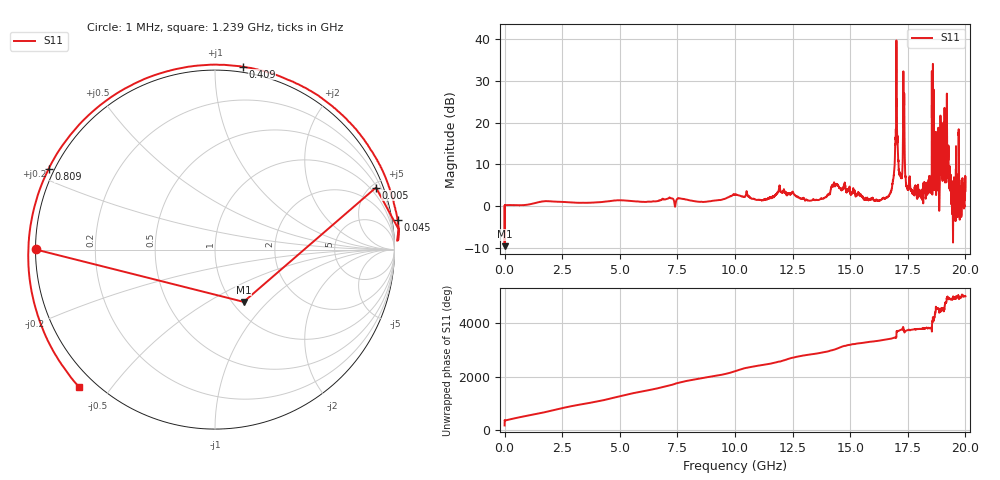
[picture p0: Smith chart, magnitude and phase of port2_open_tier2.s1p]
! Created with skrf 1.8.0 (http://scikit-rf.org).
# GHz S RI R 50.0
!freq ReS11 ImS11
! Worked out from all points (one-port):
!   10001 points, 1 MHz to 20 GHz, reference 50 ohm
!   lowest |S11| = -9.6 dB at 3 MHz (marker M1), VSWR 1.99, Z = 56.2 - j36.8 ohm
!   |S11| at or under -10 dB: nowhere
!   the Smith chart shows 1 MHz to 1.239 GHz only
!   S11 on the Smith chart (normalised r, x): 1 MHz: 0.00, +0.00; 5 MHz: 0.59, +5.31; 45 MHz: -2, +12; 409 MHz: -0.04, +1.16; 809 MHz: -0.02, +0.23; 1.239 GHz: -0.04, -0.42
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0.001  -0.9998 0.00081
0.0029999  0.1595 -0.2912
0.0049998  0.8967 0.3454
0.0449978  1.017 0.1657
0.4089796  0.1544 1.019
0.8089596  -0.9267 0.4501
1.238938  -0.7559 -0.766
2.500875  -0.3151 1.081
5.00075  -1.15 -0.2602
7.500625  0.9509 -0.7822
8.814559  -1.138 -0.0482
10.0005  1.015 0.9266
10.54847  -1.354 0.0897
11.85841  1.261 0.7354
12.50038  -1.466 -0.2058
14.22229  -0.5657 1.669
15.00025  0.886 -1.152
16.45018  -0.7762 0.9938
16.82616  -1.773 -0.3238
16.90615  -2.307 -1.208
17.10814  -0.8897 2.503
17.20614  -1.84 1.169
17.24414  -2.13 0.5758
17.40813  -0.5461 2.127
17.50013  -1.185 1.052
18.72606  -1.033 -0.9021
18.99805  -2.099 -2.561
20  1.713 -1.417
